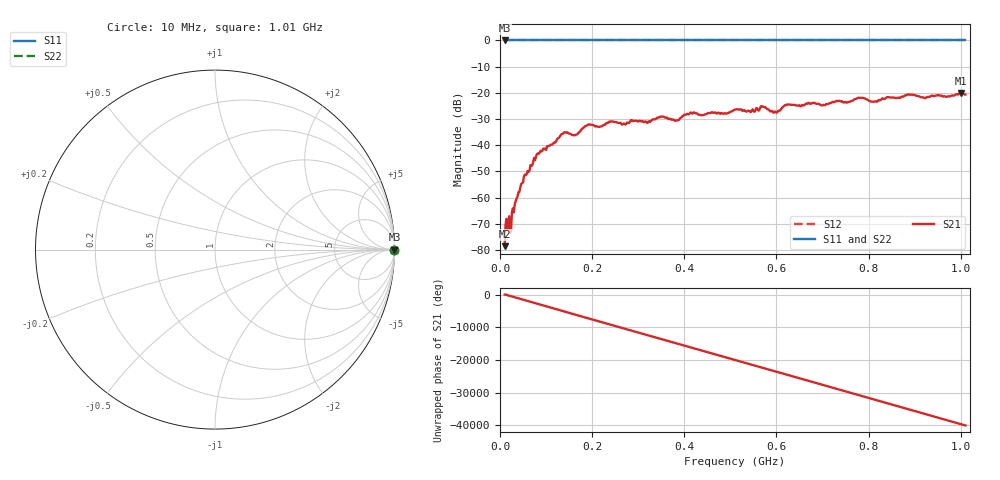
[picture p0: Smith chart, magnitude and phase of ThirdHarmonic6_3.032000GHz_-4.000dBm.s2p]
! 8/17/2025 8:45:17 AM
! C:\ANRITSUVNA\TEMP\TEMP.S2P
! CHANNEL.1
! TR.MEASUREMENT
! RAW.DATA
! RF.CORRECTION.OFF
! AVERAGING.OFF
! IF.BANDWIDTH: 5KHZ
! SWEEPTYPE:  FREQ.SWEEP(Linear)
! Reference Plane Port Info
! PORT:  PORT1  PORT2
! DISTANCE:  0  m  0  m
! TIME:  0  s  0  s
! PHASE.OFFSET:  0  deg.  0  deg.
! LOSS:  0  dB  0  dB
! REF.LOSS:  0  dB  0  dB
! REF.FREQ:  0  Hz  0  Hz
! Power Info
! POWER:  -20  dBm  -20  dBm
! EFF.POWER:  -20  dBm  -20  dBm
! SOURCE.ATTEN:  0  dB  0  dB
! TEST.ATTEN:  0  dB  0  dB
# GHZ S RI R 50.0
! FREQ.GHZ  S11RE  S11IM  S21RE  S21IM  S12RE  S12IM  S22RE  S22IM
!; PortSelection: Port_12
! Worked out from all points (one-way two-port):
!   501 points, 10 MHz to 1.01 GHz, reference 50 ohm
!   highest |S21| = -20.00 dB at 1 GHz (marker M1); lowest = -78.5 dB at 10 MHz (marker M2)
!   lowest |S11| = 0.0 dB at 10 MHz (marker M3)
!   |S11| at or under -10 dB: nowhere
!   |S22| runs from 0.0 to 0.0 dB; largest |S21 - S12| = 1.1
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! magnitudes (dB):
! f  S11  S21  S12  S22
! 10 MHz  0.0  -78.5  0.0  0.0
! 16 MHz  0.0  -71.8  0.0  0.0
! 20 MHz  0.0  -67.1  0.0  0.0
! 26 MHz  0.0  -65.4  0.0  0.0
! 30 MHz  0.0  -65.6  0.0  0.0
! 50 MHz  0.0  -54.2  0.0  0.0
! 78 MHz  0.0  -44.4  0.0  0.0
! 136 MHz  0.0  -35.7  0.0  0.0
! 164 MHz  0.0  -36.0  0.0  0.0
! 178 MHz  0.0  -33.7  0.0  0.0
! 192 MHz  0.0  -32.1  0.0  0.0
! 344 MHz  0.0  -29.5  0.0  0.0
! 384 MHz  0.0  -30.5  0.0  0.0
! 416 MHz  0.0  -27.8  0.0  0.0
! 510 MHz  0.0  -26.4  0.0  0.0
! 570 MHz  0.0  -25.2  0.0  0.0
! 598 MHz  0.0  -27.2  0.0  0.0
! 622 MHz  0.0  -24.6  0.0  0.0
! 678 MHz  0.0  -23.8  0.0  0.0
! 844 MHz  0.0  -21.7  0.0  0.0
! 1 GHz  0.0  -20.0  0.0  0.0
! 1.01 GHz  0.0  -20.6  0.0  0.0
